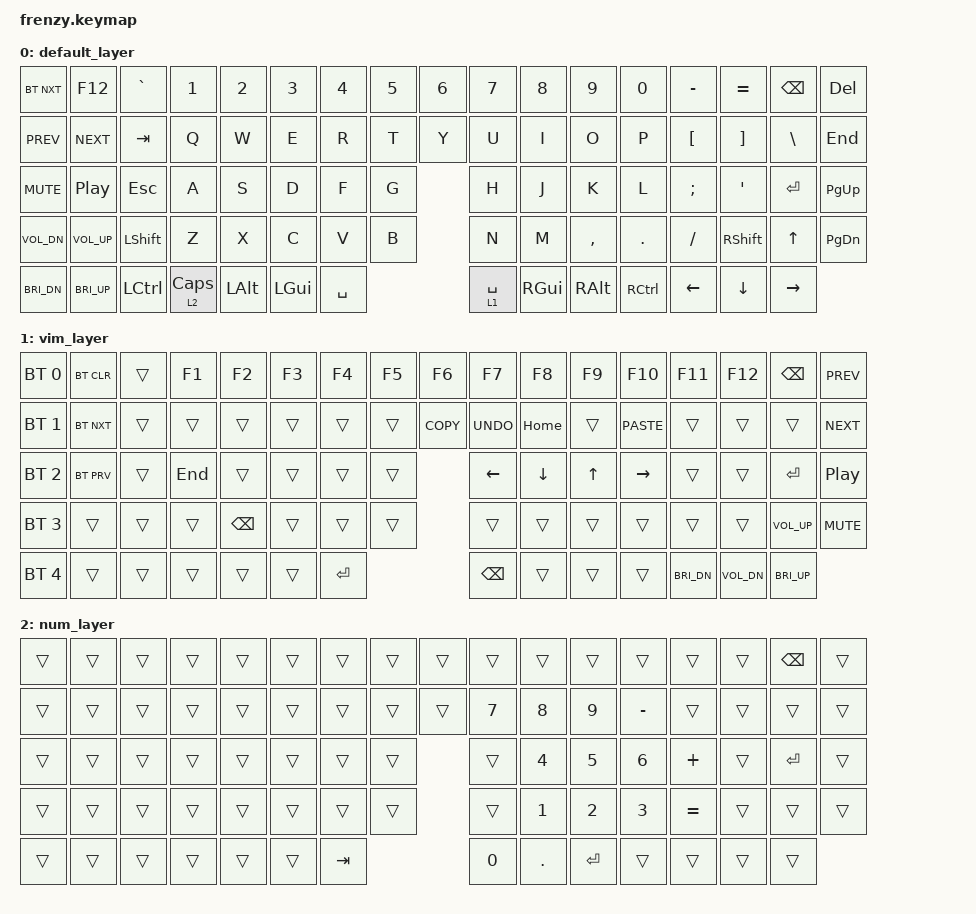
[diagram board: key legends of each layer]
/*
 * Copyright (c) 2020 The ZMK Contributors
 *
 * SPDX-License-Identifier: MIT
 */

#include <behaviors.dtsi>
#include <dt-bindings/zmk/bt.h>
#include <dt-bindings/zmk/keys.h>

/ {
    keymap {
        compatible = "zmk,keymap";

// ---------------------------------------------------------------------------------------------------------------------
// |BTNXT| F12 |  `    |  1   |  2  |  3   |  4  |  5  |  6  |      |  7  |  8  |  9  |  0  |  -  |  =  |  BKSPC | DEL  |
// | PREV| NEXT|  TAB   |  Q   |  W  |  E   |  R  |  T  |        |  Y  |  U  |  I  |  O  |  P  |  [  |  ]  |  \  | END  |
// | MUTE| PLAY|  ESC    |  A   |  S  |  D   |  F  |  G  |        |  H  |  J  |  K  |  L  |  ;  |  '  |   ENTER  | PGUP |
// | VOLD| VOLU|  SHIFT   |  Z   |  X  |  C  |  V   |  B  |        |  N  |  M  |  ,  |  .  |  /  |  RSHFT  |  UP | PGDN |
// | BRID| BRIU|  LCTRL | FN/CAPS | LALT | LGUI  |   SPACE   |    |    SPACE   | RGUI | RALT | RCTRL | LFT | DWN | RGHT |
// ---------------------------------------------------------------------------------------------------------------------

        default_layer {
            bindings = <
    &bt BT_NXT   &kp F12      &kp GRAVE &kp N1     &kp N2   &kp N3    &kp N4 &kp N5 &kp N6   /**/ &kp N7      &kp N8   &kp N9    &kp N0    &kp MINUS &kp EQUAL &kp BSPC &kp DEL
    &kp C_PREV   &kp C_NEXT   &kp TAB   &kp Q      &kp W    &kp E     &kp R  &kp T           /**/ &kp Y       &kp U    &kp I     &kp O     &kp P     &kp LBKT  &kp RBKT &kp BSLH &kp END
    &kp K_MUTE   &kp C_PP     &kp ESC   &kp A      &kp S    &kp D     &kp F  &kp G           /**/ &kp H       &kp J    &kp K     &kp L     &kp SEMI  &kp SQT   &kp RET  &kp PG_UP
    &kp C_VOL_DN &kp C_VOL_UP &kp LSHFT &kp Z      &kp X    &kp C     &kp V  &kp B           /**/ &kp N       &kp M    &kp COMMA &kp DOT   &kp FSLH  &kp RSHFT &kp UP   &kp PG_DN
    &kp C_BRI_DN &kp C_BRI_UP &kp LCTRL &lt 2 CAPS &kp LALT &kp LGUI  &kp SPACE              /**/ &lt 1 SPACE &kp RGUI &kp RALT  &kp RCTRL &kp LEFT  &kp DOWN  &kp RIGHT
            >;
        };

// ---------------------------------------------------------------------------------------------------------------------
// | BT1 | BTC |       |  F1  | F2  | F3   | F4  | F5  | F6  |      | F7  | F8  | F9  | F10 | F11 | F12 |  BKSPC | PREV |
// | BT2 | BTN |        |      |     |      |     |     |        | COPY| UNDO| HOME|     |PASTE|     |     |     | NEXT |
// | BT3 | BTP |         | END  |     |      |     |     |        | LFT | DWN | UP | RGHT |     |     |  ENTER   | PLAY |
// | BT4 |     |          |      |BKSPC|     |      |     |        |     |     |     |     |     |         |VOLU | MUTE |
// | BT5 |     |          |    |      |       |   ENTER    |      |    BKSPC   |      |      |       |BRID |VOLD |BRIU  |
// ---------------------------------------------------------------------------------------------------------------------

        vim_layer {
            bindings = <
    &bt BT_SEL 0 &bt BT_CLR &trans &kp F1  &kp F2   &kp F3 &kp F4 &kp F5  &kp F6    /**/ &kp F7     &kp F8     &kp F9   &kp F10   &kp F11      &kp F12      &kp BSPC      &kp C_PREV
    &bt BT_SEL 1 &bt BT_NXT &trans &trans  &trans   &trans &trans &trans            /**/ &kp K_COPY &kp K_UNDO &kp HOME &trans    &kp K_PASTE  &trans       &trans &trans &kp C_NEXT
    &bt BT_SEL 2 &bt BT_PRV &trans &kp END &trans   &trans &trans &trans            /**/ &kp LEFT   &kp DOWN   &kp UP   &kp RIGHT &trans       &trans       &kp RET       &kp C_PP
    &bt BT_SEL 3 &trans     &trans &trans  &kp BSPC &trans &trans &trans            /**/ &trans     &trans     &trans   &trans    &trans       &trans       &kp C_VOL_UP  &kp K_MUTE
    &bt BT_SEL 4 &trans     &trans &trans  &trans   &trans &kp RET                 /**/ &kp BSPC              &trans   &trans    &trans       &kp C_BRI_DN &kp C_VOL_DN  &kp C_BRI_UP
            >;
        };

// ---------------------------------------------------------------------------------------------------------------------
// |     |     |       |      |     |      |     |     |     |      |     |     |     |     |     |     |  BKSPC |      |
// |     |     |        |      |     |      |     |     |        |     |  7  |  8  |  9  |  -  |     |     |     |      |
// |     |     |         |      |     |      |     |     |        |     |  4  | 5   |  6  |  +  |     | ENTER    |      |
// |     |     |          |      |     |     |      |     |        |     |  1  |  2  |  3  |  =  |         |     |      |
// |     |     |          |    |      |       |   TAB      |      |      0     |  .   |ENTER |       |     |     |      |
// ---------------------------------------------------------------------------------------------------------------------

        num_layer {
            bindings = <
    &trans &trans &trans &trans &trans &trans &trans &trans &trans  /**/ &trans  &trans  &trans   &trans   &trans     &trans &kp BSPC &trans
    &trans &trans &trans &trans &trans &trans &trans &trans         /**/ &trans  &kp N7  &kp N8   &kp N9   &kp MINUS  &trans &trans  &trans &trans
    &trans &trans &trans &trans &trans &trans &trans &trans         /**/ &trans  &kp N4  &kp N5   &kp N6   &kp PLUS   &trans &kp RET &trans
    &trans &trans &trans &trans &trans &trans &trans &trans         /**/ &trans  &kp N1  &kp N2   &kp N3   &kp EQUAL  &trans &trans  &trans
    &trans &trans &trans &trans &trans &trans &kp TAB               /**/ &kp N0          &kp DOT  &kp RET  &trans     &trans &trans  &trans
            >;
        };

// ---------------------------------------------------------------------------------------------------------------------
// |     |     |       |      |     |      |     |     |     |      |     |     |     |     |     |     |        |      |
// |     |     |        |      |     |      |     |     |        |     |     |     |     |     |     |     |     |      |
// |     |     |         |      |     |      |     |     |        |     |     |     |     |     |     |          |      |
// |     |     |          |      |     |     |      |     |        |     |     |     |     |     |         |     |      |
// |     |     |          |    |      |       |            |      |            |      |      |       |     |     |      |
// ---------------------------------------------------------------------------------------------------------------------

    };
};
